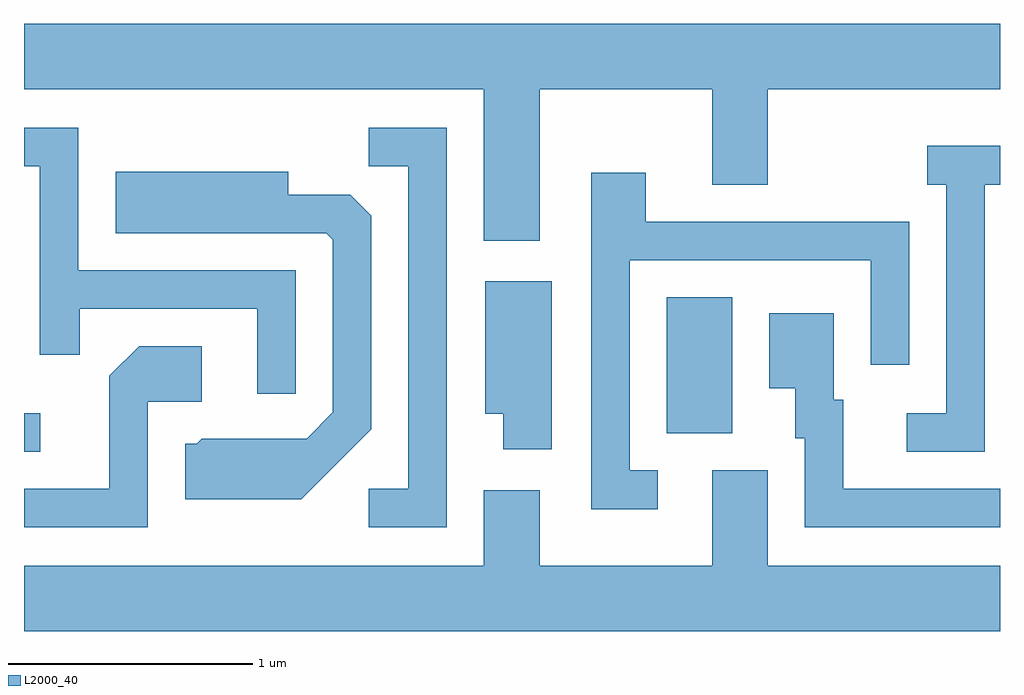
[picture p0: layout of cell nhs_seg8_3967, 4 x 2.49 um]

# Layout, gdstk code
import gdstk
lib = gdstk.Library(unit=1e-6, precision=1e-09)
def R(c, l, rs):  # rectangles x0, y0, x1, y1
    for r in rs: c.add(gdstk.rectangle(r[:2], r[2:], *l))
def P(c, l, *ps):  # polygons
    for p in ps: c.add(gdstk.Polygon(p, *l))
L2000_40 = (2000, 40)

nhs_seg8_3967 = lib.new_cell('nhs_seg8_3967')
R(nhs_seg8_3967, L2000_40, [(303.611,1890.431,303.678,1890.589), (306.246,1890.506,306.514,1891.064)])
P(nhs_seg8_3967, L2000_40, [(305.724,1891.916),(306.431,1891.916),(306.431,1891.526),(306.659,1891.526),(306.659,1891.916),(307.611,1891.916),(307.611,1892.184),(303.611,1892.184),(303.611,1891.916),(305.496,1891.916),(305.496,1891.296),(305.724,1891.296)],
  [(305.344,1891.759),(305.023,1891.759),(305.023,1891.601),(305.186,1891.601),(305.186,1890.279),(305.023,1890.279),(305.023,1890.121),(305.344,1890.121)],
  [(304.724,1891.174),(303.834,1891.174),(303.834,1891.759),(303.611,1891.759),(303.611,1891.601),(303.676,1891.601),(303.676,1890.828),(303.839,1890.828),(303.839,1891.016),(304.566,1891.016),(304.566,1890.668),(304.724,1890.668)],
  [(307.549,1891.526),(307.611,1891.526),(307.611,1891.684),(307.313,1891.684),(307.313,1891.526),(307.391,1891.526),(307.391,1890.589),(307.228,1890.589),(307.228,1890.431),(307.549,1890.431)],
  [(305.034,1890.524),(305.034,1891.399),(304.949,1891.484),(304.694,1891.484),(304.694,1891.579),(303.986,1891.579),(303.986,1891.326),(304.849,1891.326),(304.876,1891.299),(304.876,1890.592),(304.769,1890.484),(304.339,1890.484),(304.319,1890.464),(304.271,1890.464),(304.271,1890.236),(304.747,1890.236)],
  [(306.208,1890.354),(306.094,1890.354),(306.094,1891.216),(307.081,1891.216),(307.081,1890.788),(307.239,1890.788),(307.239,1891.374),(306.159,1891.374),(306.159,1891.574),(305.936,1891.574),(305.936,1890.196),(306.208,1890.196)],
  [(305.774,1891.129),(305.501,1891.129),(305.501,1890.586),(305.576,1890.586),(305.576,1890.441),(305.774,1890.441)],
  [(307.611,1890.279),(306.969,1890.279),(306.969,1890.644),(306.929,1890.644),(306.929,1890.999),(306.666,1890.999),(306.666,1890.691),(306.771,1890.691),(306.771,1890.486),(306.811,1890.486),(306.811,1890.121),(307.611,1890.121)],
  [(304.119,1890.636),(304.339,1890.636),(304.339,1890.864),(304.084,1890.864),(303.961,1890.742),(303.961,1890.279),(303.611,1890.279),(303.611,1890.121),(304.119,1890.121)],
  [(307.611,1889.964),(306.659,1889.964),(306.659,1890.354),(306.431,1890.354),(306.431,1889.964),(305.724,1889.964),(305.724,1890.274),(305.496,1890.274),(305.496,1889.964),(303.611,1889.964),(303.611,1889.696),(307.611,1889.696)])

lib.write_gds('nhs_seg8_3967.gds')
